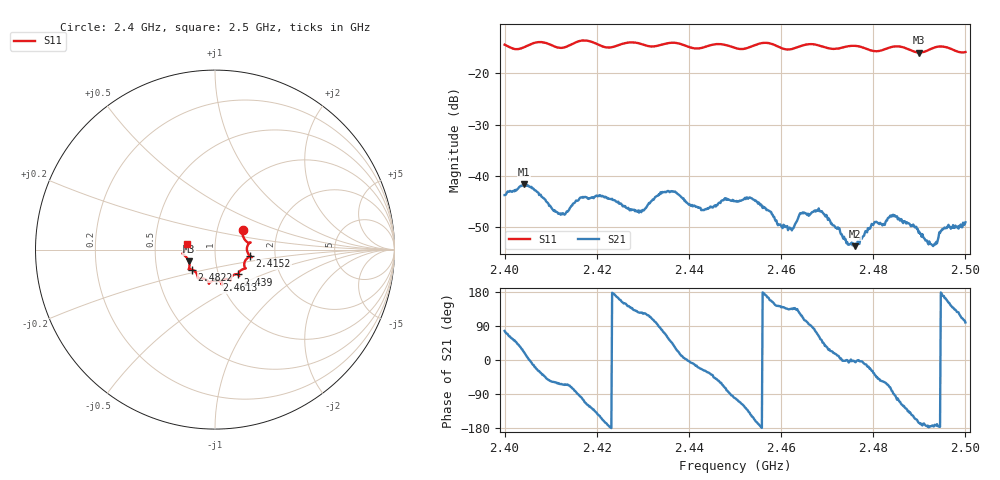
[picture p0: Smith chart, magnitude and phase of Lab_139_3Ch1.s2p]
# Hz S RI R 50
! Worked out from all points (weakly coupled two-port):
!   601 points, 2.4 GHz to 2.5 GHz, reference 50 ohm
!   highest |S21| = -41.66 dB at 2.4042 GHz (marker M1); lowest = -53.8 dB at 2.476 GHz (marker M2)
!   lowest |S11| = -15.9 dB at 2.4898 GHz (marker M3), VSWR 1.38, Z = 37 - j5.02 ohm
!   |S11| at or under -10 dB: start of sweep to end of sweep
!   S12 and S22 are empty: the file has one direction only
!   S11 on the Smith chart (normalised r, x): 2.4 GHz: 1.33, +0.31; 2.4152 GHz: 1.48, -0.11; 2.439 GHz: 1.24, -0.36; 2.4613 GHz: 0.96, -0.34; 2.4822 GHz: 0.76, -0.17; 2.5 GHz: 0.73, +0.05
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2.4e9  0.155 0.1117  0.00148 0.00628  0 0  0 0
2.404167e9  0.1735 0.047  0.00767 0.00304  0 0  0 0
2.412e9  0.1777 0.00595  0.0019 -0.00382  0 0  0 0
2.415167e9  0.1951 -0.0365  0.000832 -0.00535  0 0  0 0
2.416667e9  0.2048 -0.0425  -0.00094 -0.00605  0 0  0 0
2.429167e9  0.1659 -0.1057  -0.00251 0.00355  0 0  0 0
2.433333e9  0.1322 -0.1323  -0.000122 0.00638  0 0  0 0
2.439e9  0.1279 -0.1385  0.00566 0.000506  0 0  0 0
2.443167e9  0.0896 -0.1557  0.0041 -0.00208  0 0  0 0
2.45e9  0.069 -0.1636  -0.00103 -0.00551  0 0  0 0
2.453667e9  0.0359 -0.1809  -0.00515 -0.00305  0 0  0 0
2.461333e9  0.00754 -0.1711  -0.00228 0.00226  0 0  0 0
2.466667e9  -0.0339 -0.1903  0.000138 0.00437  0 0  0 0
2.468667e9  -0.0351 -0.1816  0.00262 0.0036  0 0  0 0
2.476e9  -0.0942 -0.1604  0.00203 -0.000178  0 0  0 0
2.480167e9  -0.1082 -0.1252  0.0028 -0.00196  0 0  0 0
2.482167e9  -0.1281 -0.1116  0.00183 -0.00283  0 0  0 0
2.483333e9  -0.1394 -0.1101  0.00148 -0.00359  0 0  0 0
2.489833e9  -0.1456 -0.0661  -0.00267 -0.000708  0 0  0 0
2.493e9  -0.175 -0.0278  -0.00204 -0.000184  0 0  0 0
2.495167e9  -0.1816 -0.0207  -0.00293 0.000574  0 0  0 0
2.5e9  -0.1582 0.0339  -0.000551 0.00345  0 0  0 0
